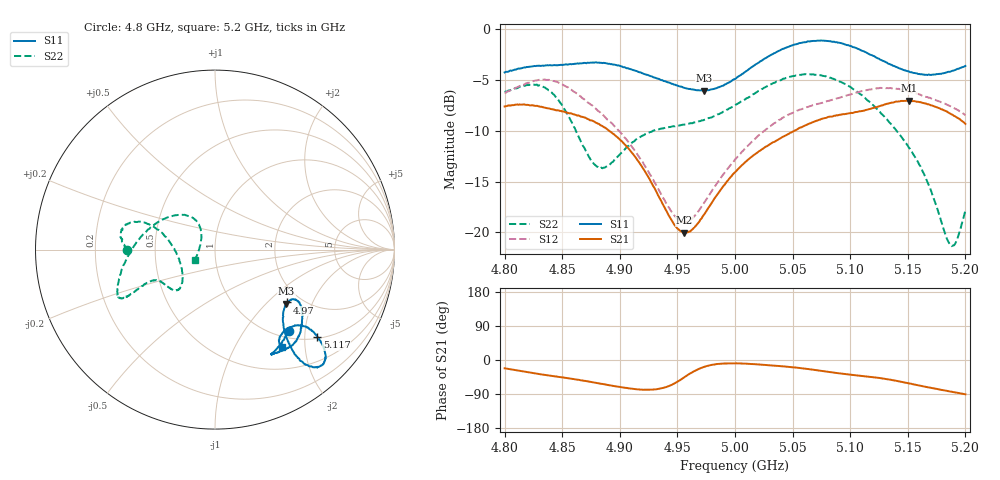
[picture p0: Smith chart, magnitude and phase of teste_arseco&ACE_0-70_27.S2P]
! Network Analyzer HP8722D
! Hewlett-Packard
! Data name: Linha & Wilkinson
! Saver's name: Rodrigo Anjos
! Comments: Teste da utilização de aquisição
! continua pelo VNA HP8722D
! Time and date: 8/5/2025 12:59
!  Frequency  S11  S21  S12  S22
# HZ  S  MA R 50
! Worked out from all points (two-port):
!   401 points, 4.8 GHz to 5.2 GHz, reference 50 ohm
!   highest |S21| = -7.05 dB at 5.151 GHz (marker M1); lowest = -20.0 dB at 4.956 GHz (marker M2)
!   |S21| within 3 dB of the highest: start of sweep to 4.891 GHz; 5.051 GHz to end of sweep
!   lowest |S11| = -6.0 dB at 4.973 GHz (marker M3), VSWR 2.99, Z = 82.5 - j66.4 ohm
!   |S11| at or under -10 dB: nowhere
!   |S22| runs from -21.4 to -4.4 dB; largest |S21 - S12| = 0.95
!   S11 on the Smith chart (normalised r, x): 4.8 GHz: 1.14, -1.65; 4.97 GHz: 1.70, -1.33; 5.117 GHz: 1.04, -2.31; 5.2 GHz: 0.82, -1.58
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4.8e9  0.6121 -47.6  0.4162 -21.9  0.4873 -175.7  0.4899 -179.8
4.821e9  0.6521 -58.4  0.4231 -32.7  0.5439 176.8  0.5305 171.5
4.837e9  0.6638 -61.6  0.408 -40.4  0.5625 167.5  0.5067 163.4
4.852e9  0.6683 -59.4  0.3918 -46.7  0.5267 158.1  0.4023 159.2
4.867e9  0.6787 -54.8  0.3707 -53.8  0.4597 150.8  0.2744 166.9
4.885e9  0.6802 -48.9  0.3332 -63.2  0.3806 144.5  0.2068 -160.3
4.909e9  0.6359 -40.6  0.2529 -75.2  0.2712 137.8  0.2711 -133.3
4.934e9  0.5686 -32.9  0.1495 -76.3  0.1614 141.1  0.3215 -135.4
4.956e9  0.5143 -32.5  0.09968 -45.4  0.1121 172.7  0.339 -144.4
4.97e9  0.4998 -36.1  0.1157 -21.8  0.1312 -163.5  0.3527 -150.0
4.973e9  0.4986 -37.3  0.1221 -18.4  0.1392 -159.9  0.3574 -151.0
5e9  0.5678 -47.9  0.1976 -9.1  0.2283 -146.8  0.4231 -154.0
5.039e9  0.7851 -52.3  0.2893 -16.1  0.3585 -147.8  0.559 -152.2
5.067e9  0.8734 -48.4  0.3477 -25.3  0.4214 -154.4  0.5985 -155.0
5.095e9  0.8429 -43.3  0.3815 -37.0  0.4673 -162.3  0.5385 -166.5
5.117e9  0.7493 -40.4  0.4043 -44.2  0.5044 -172.5  0.4376 174.1
5.134e9  0.6741 -40.2  0.432 -51.5  0.5128 177.4  0.3475 153.2
5.151e9  0.6189 -43.2  0.444 -61.7  0.4933 167.8  0.2609 132.2
5.166e9  0.5964 -48.4  0.4299 -70.9  0.4635 161.1  0.183 122.5
5.187e9  0.6172 -54.8  0.3838 -83.4  0.4174 153.7  0.08678 158.8
5.192e9  0.6322 -55.5  0.3693 -85.9  0.4045 152.2  0.09006 -178.0
5.2e9  0.6584 -55.6  0.3419 -90.5  0.3774 149.6  0.1284 -152.1
